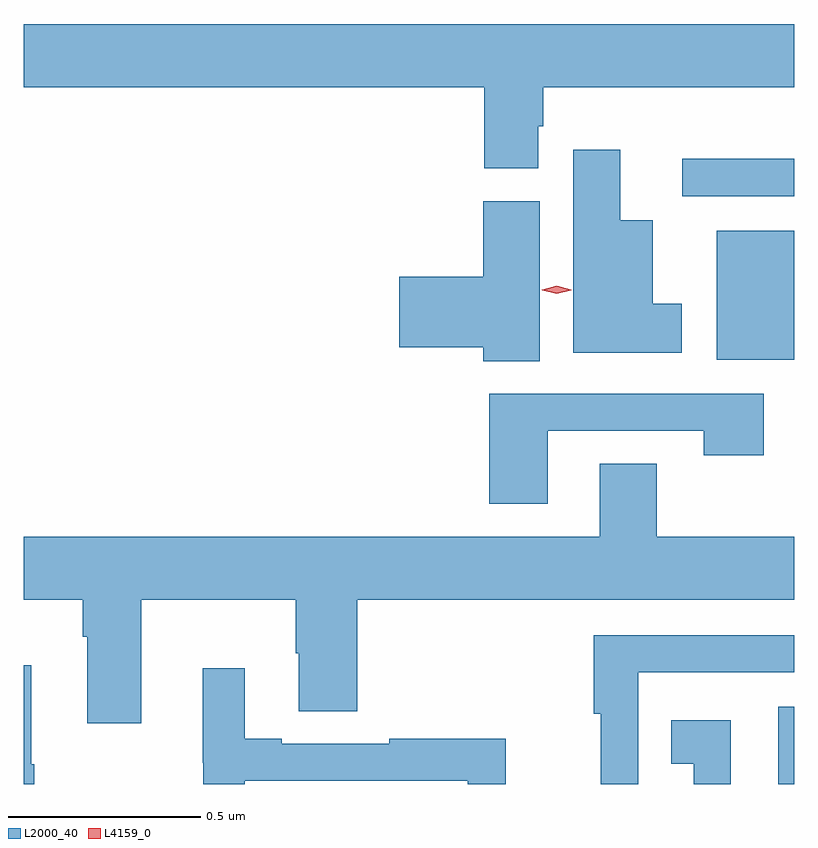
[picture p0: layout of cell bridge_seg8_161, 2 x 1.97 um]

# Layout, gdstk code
import gdstk
lib = gdstk.Library(unit=1e-6, precision=1e-09)
def R(c, l, rs):  # rectangles x0, y0, x1, y1
    for r in rs: c.add(gdstk.rectangle(r[:2], r[2:], *l))
def P(c, l, *ps):  # polygons
    for p in ps: c.add(gdstk.Polygon(p, *l))
L2000_40 = (2000, 40)
L4159_0 = (4159, 0)

bridge_seg8_161 = lib.new_cell('bridge_seg8_161')
R(bridge_seg8_161, L2000_40, [(532.194,1138.666,532.235,1138.866), (532.034,1139.768,532.235,1140.103), (531.945,1140.192,532.235,1140.29)])
P(bridge_seg8_161, L2000_40, [(531.571,1140.375),(531.584,1140.375),(531.584,1140.476),(532.235,1140.476),(532.235,1140.64),(530.235,1140.64),(530.235,1140.476),(531.431,1140.476),(531.431,1140.265),(531.571,1140.265)],
  [(531.943,1139.914),(531.868,1139.914),(531.868,1140.13),(531.784,1140.13),(531.784,1140.313),(531.662,1140.313),(531.662,1139.786),(531.943,1139.786)],
  [(531.574,1140.18),(531.428,1140.18),(531.428,1139.984),(531.21,1139.984),(531.21,1139.801),(531.428,1139.801),(531.428,1139.764),(531.574,1139.764)],
  [(531.595,1139.583),(532,1139.583),(532,1139.52),(532.156,1139.52),(532.156,1139.679),(531.443,1139.679),(531.443,1139.394),(531.595,1139.394)],
  [(530.539,1139.144),(530.941,1139.144),(530.941,1139.006),(530.948,1139.006),(530.948,1138.855),(531.101,1138.855),(531.101,1139.144),(532.235,1139.144),(532.235,1139.308),(531.879,1139.308),(531.879,1139.498),(531.731,1139.498),(531.731,1139.308),(530.235,1139.308),(530.235,1139.144),(530.387,1139.144),(530.387,1139.048),(530.399,1139.048),(530.399,1138.824),(530.539,1138.824)],
  [(531.831,1138.956),(532.235,1138.956),(532.235,1139.052),(531.715,1139.052),(531.715,1138.849),(531.733,1138.849),(531.733,1138.666),(531.831,1138.666)],
  [(530.262,1138.717),(530.254,1138.717),(530.254,1138.975),(530.235,1138.975),(530.235,1138.666),(530.262,1138.666)],
  [(530.808,1138.674),(531.387,1138.674),(531.387,1138.666),(531.486,1138.666),(531.486,1138.783),(531.184,1138.783),(531.184,1138.77),(530.905,1138.77),(530.905,1138.783),(530.809,1138.783),(530.809,1138.966),(530.699,1138.966),(530.699,1138.721),(530.7,1138.721),(530.7,1138.666),(530.808,1138.666)],
  [(532.071,1138.831),(531.916,1138.831),(531.916,1138.718),(531.974,1138.718),(531.974,1138.666),(532.071,1138.666)])
P(bridge_seg8_161, L4159_0, [(531.619,1139.94),(531.581,1139.949),(531.58,1139.95),(531.581,1139.95),(531.619,1139.96),(531.657,1139.95),(531.657,1139.95),(531.657,1139.949)])

lib.write_gds('bridge_seg8_161.gds')
